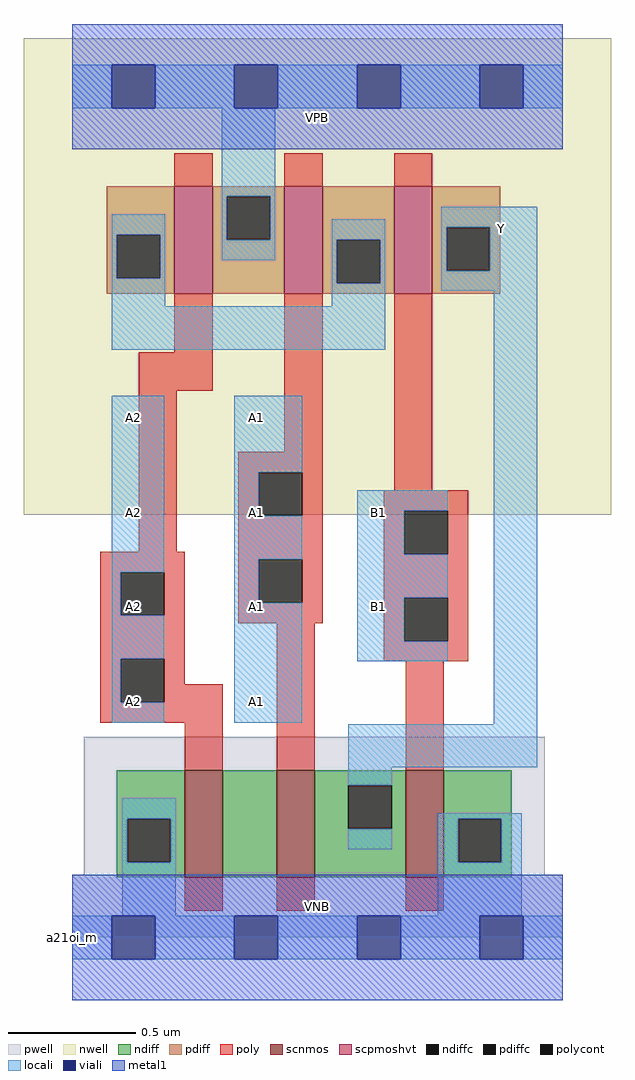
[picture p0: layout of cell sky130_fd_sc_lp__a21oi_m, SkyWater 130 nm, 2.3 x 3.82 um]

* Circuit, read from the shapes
.subckt sky130_fd_sc_lp__a21oi_m A1 A2 B1 VGND VNB VPB VPWR Y
XM1 n1 A2 VGND VNB sky130_fd_pr__nfet_01v8 w=0.42 l=0.15
XM2 Y A1 n1 VNB sky130_fd_pr__nfet_01v8 w=0.42 l=0.15
XM3 VGND B1 Y VNB sky130_fd_pr__nfet_01v8 w=0.42 l=0.15
XM4 VPWR A2 n2 VPB sky130_fd_pr__pfet_01v8_hvt w=0.42 l=0.15
XM5 n2 A1 VPWR VPB sky130_fd_pr__pfet_01v8_hvt w=0.42 l=0.15
XM6 Y B1 n2 VPB sky130_fd_pr__pfet_01v8_hvt w=0.42 l=0.15
.ends

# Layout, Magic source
magic
tech sky130A
magscale 1 2
<< nwell >>
rect -38 331 422 704
<< pwell >>
rect 9 49 370 157
rect 0 0 384 49
<< scnmos >>
rect 88 47 118 131
rect 160 47 190 131
rect 261 47 291 131
<< scpmoshvt >>
rect 80 504 110 588
rect 166 504 196 588
rect 252 504 282 588
<< ndiff >>
rect 35 93 88 131
rect 35 59 43 93
rect 77 59 88 93
rect 35 47 88 59
rect 118 47 160 131
rect 190 119 261 131
rect 190 85 216 119
rect 250 85 261 119
rect 190 47 261 85
rect 291 93 344 131
rect 291 59 302 93
rect 336 59 344 93
rect 291 47 344 59
<< pdiff >>
rect 27 550 80 588
rect 27 516 35 550
rect 69 516 80 550
rect 27 504 80 516
rect 110 580 166 588
rect 110 546 121 580
rect 155 546 166 580
rect 110 504 166 546
rect 196 546 252 588
rect 196 512 207 546
rect 241 512 252 546
rect 196 504 252 512
rect 282 556 335 588
rect 282 522 293 556
rect 327 522 335 556
rect 282 504 335 522
<< ndiffc >>
rect 43 59 77 93
rect 216 85 250 119
rect 302 59 336 93
<< pdiffc >>
rect 35 516 69 550
rect 121 546 155 580
rect 207 512 241 546
rect 293 522 327 556
<< poly >>
rect 80 588 110 614
rect 166 588 196 614
rect 252 588 282 614
rect 80 458 110 504
rect 52 428 110 458
rect 52 302 82 428
rect 166 380 196 504
rect 130 364 196 380
rect 130 330 146 364
rect 180 330 196 364
rect 252 350 282 504
rect 22 286 88 302
rect 22 252 38 286
rect 72 252 88 286
rect 22 218 88 252
rect 130 296 196 330
rect 130 262 146 296
rect 180 262 196 296
rect 130 246 196 262
rect 244 334 310 350
rect 244 300 260 334
rect 294 300 310 334
rect 244 266 310 300
rect 22 184 38 218
rect 72 198 88 218
rect 72 184 118 198
rect 22 168 118 184
rect 88 131 118 168
rect 160 131 190 246
rect 244 232 260 266
rect 294 232 310 266
rect 244 216 310 232
rect 261 131 291 216
rect 88 21 118 47
rect 160 21 190 47
rect 261 21 291 47
<< polycont >>
rect 146 330 180 364
rect 38 252 72 286
rect 146 262 180 296
rect 260 300 294 334
rect 38 184 72 218
rect 260 232 294 266
<< locali >>
rect 0 649 31 683
rect 65 649 127 683
rect 161 649 223 683
rect 257 649 319 683
rect 353 649 384 683
rect 117 580 159 649
rect 31 550 73 566
rect 31 516 35 550
rect 69 516 73 550
rect 117 546 121 580
rect 155 546 159 580
rect 117 530 159 546
rect 203 546 245 562
rect 31 494 73 516
rect 203 512 207 546
rect 241 512 245 546
rect 203 494 245 512
rect 289 556 364 572
rect 289 522 293 556
rect 327 522 364 556
rect 289 506 364 522
rect 31 460 245 494
rect 31 286 72 424
rect 31 252 38 286
rect 31 218 72 252
rect 31 184 38 218
rect 31 168 72 184
rect 127 364 180 424
rect 127 330 146 364
rect 127 296 180 330
rect 127 262 146 296
rect 127 168 180 262
rect 223 334 294 350
rect 223 300 260 334
rect 223 266 294 300
rect 223 232 260 266
rect 223 216 294 232
rect 330 167 364 506
rect 216 133 364 167
rect 216 119 250 133
rect 39 93 81 109
rect 39 59 43 93
rect 77 59 81 93
rect 216 69 250 85
rect 286 93 352 97
rect 39 17 81 59
rect 286 59 302 93
rect 336 59 352 93
rect 286 17 352 59
rect 0 -17 31 17
rect 65 -17 127 17
rect 161 -17 223 17
rect 257 -17 319 17
rect 353 -17 384 17
<< viali >>
rect 31 649 65 683
rect 127 649 161 683
rect 223 649 257 683
rect 319 649 353 683
rect 31 -17 65 17
rect 127 -17 161 17
rect 223 -17 257 17
rect 319 -17 353 17
<< metal1 >>
rect 0 683 384 715
rect 0 649 31 683
rect 65 649 127 683
rect 161 649 223 683
rect 257 649 319 683
rect 353 649 384 683
rect 0 617 384 649
rect 0 17 384 49
rect 0 -17 31 17
rect 65 -17 127 17
rect 161 -17 223 17
rect 257 -17 319 17
rect 353 -17 384 17
rect 0 -49 384 -17
<< labels >>
flabel pwell s 0 0 384 49 0 FreeSans 200 0 0 0 VNB
port 5 nsew ground bidirectional
flabel nwell s 0 617 384 666 0 FreeSans 200 0 0 0 VPB
port 6 nsew power bidirectional
rlabel comment s 0 0 0 0 4 a21oi_m
flabel metal1 s 0 617 384 666 0 FreeSans 340 0 0 0 VPWR
port 7 nsew power bidirectional
flabel metal1 s 0 0 384 49 0 FreeSans 340 0 0 0 VGND
port 4 nsew ground bidirectional
flabel locali s 127 168 161 202 0 FreeSans 340 0 0 0 A1
port 1 nsew signal input
flabel locali s 127 242 161 276 0 FreeSans 340 0 0 0 A1
port 1 nsew signal input
flabel locali s 127 316 161 350 0 FreeSans 340 0 0 0 A1
port 1 nsew signal input
flabel locali s 127 390 161 424 0 FreeSans 340 0 0 0 A1
port 1 nsew signal input
flabel locali s 223 242 257 276 0 FreeSans 340 0 0 0 B1
port 3 nsew signal input
flabel locali s 223 316 257 350 0 FreeSans 340 0 0 0 B1
port 3 nsew signal input
flabel locali s 319 538 353 572 0 FreeSans 340 0 0 0 Y
port 8 nsew signal output
flabel locali s 31 168 65 202 0 FreeSans 340 0 0 0 A2
port 2 nsew signal input
flabel locali s 31 242 65 276 0 FreeSans 340 0 0 0 A2
port 2 nsew signal input
flabel locali s 31 316 65 350 0 FreeSans 340 0 0 0 A2
port 2 nsew signal input
flabel locali s 31 390 65 424 0 FreeSans 340 0 0 0 A2
port 2 nsew signal input
<< properties >>
string LEFsite unit
string LEFclass CORE
string FIXED_BBOX 0 0 384 666
string GDS_FILE $PDKPATH/libs.ref/sky130_fd_sc_lp/gds/sky130_fd_sc_lp.gds
string LEFsymmetry X Y R90
string GDS_END 3589676
string GDS_START 3584484
<< end >>
